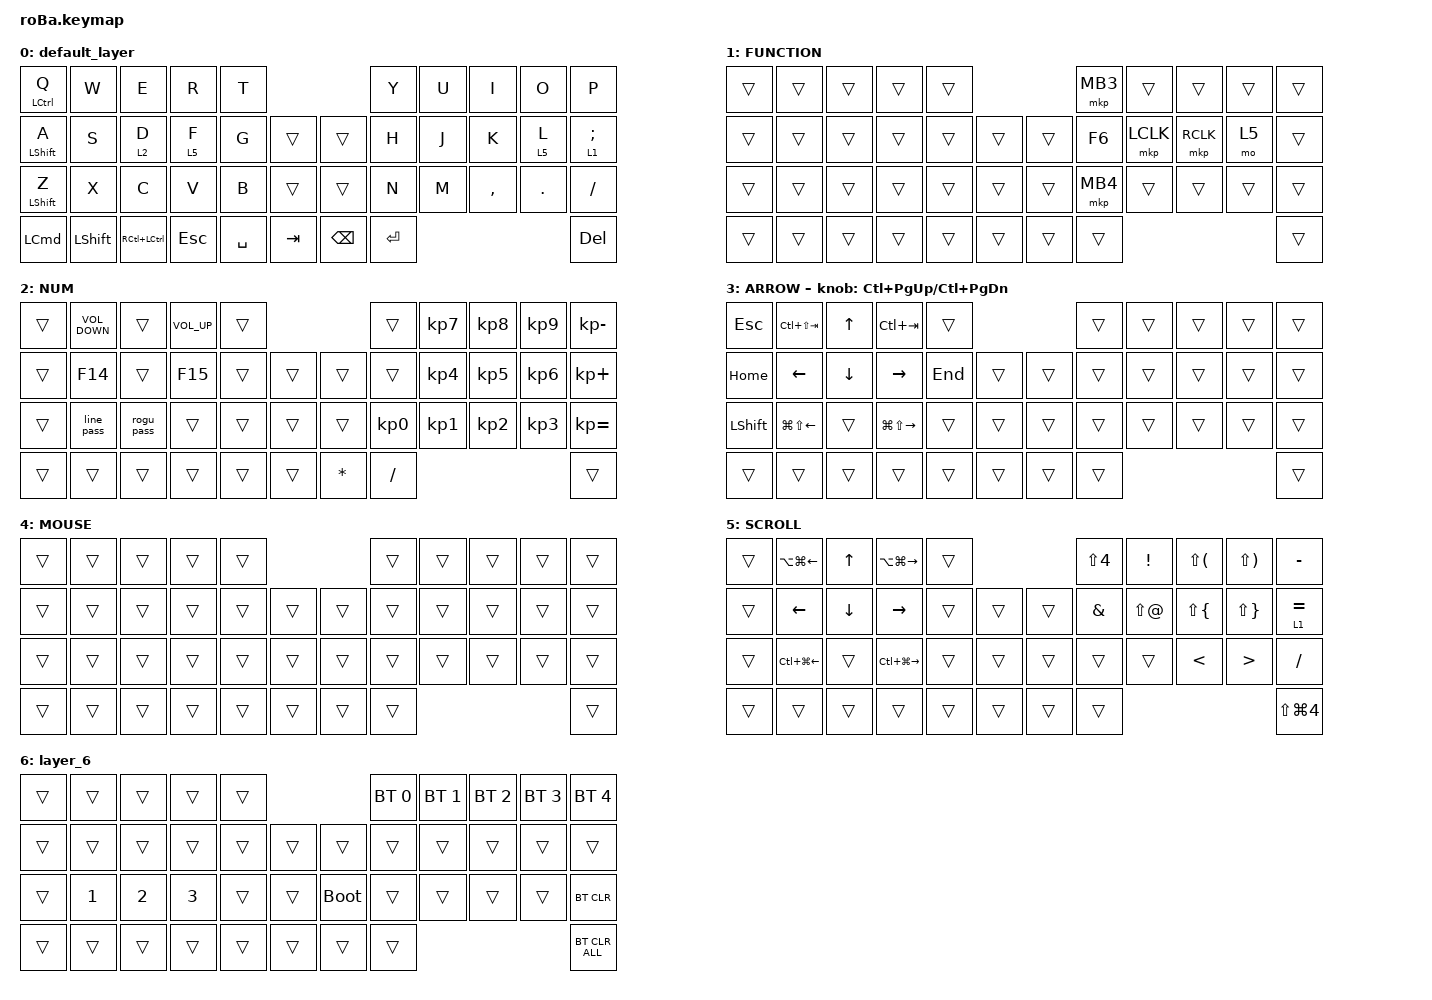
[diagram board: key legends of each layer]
#include <behaviors.dtsi>
#include <dt-bindings/zmk/bt.h>
#include <dt-bindings/zmk/keys.h>
#include <dt-bindings/zmk/pointing.h>

&mt {
    flavor = "balanced";
    quick-tap-ms = <0>;
};

&trackball {
    automouse-layer = <4>;
    scroll-layers = <5>;

    // arrows {
    //     layers = <3>;
    //     bindings =
    //         <&kp RIGHT_ARROW>,
    //         <&kp LEFT_ARROW>,
    //         <&kp UP_ARROW>,
    //         <&kp DOWN_ARROW>;
    //     tick = <10>;
    //     wait-ms = <5>;
    //     tap-ms = <5>;
    // };
};

/ {
    combos {
        compatible = "zmk,combos";

        tab {
            bindings = <&kp TAB>;
            key-positions = <11 12>;
        };

        shift_tab {
            bindings = <&kp LS(TAB)>;
            key-positions = <12 13>;
        };

        muhennkann {
            bindings = <&to_layer_0 INT_MUHENKAN>;
            key-positions = <11 10>;
        };

        double_quotation {
            bindings = <&kp DOUBLE_QUOTES>;
            key-positions = <20 21>;
        };

        eq {
            bindings = <&kp EQUAL>;
            key-positions = <24 25>;
        };
    };

    macros {
        to_layer_0: to_layer_0 {
            compatible = "zmk,behavior-macro-one-param";
            #binding-cells = <1>;
            bindings = <&macro_param_1to1>;
            label = "TO_LAYER_0";
        };

        rogu_pass: new_macro {
            compatible = "zmk,behavior-macro";
            #binding-cells = <0>;
            bindings = <&kp KP_NUMBER_1 &kp KP_NUMBER_1 &kp KP_NUMBER_2 &kp KP_NUMBER_8 &kp KP_NUMBER_1 &kp KP_NUMBER_2 &kp KP_NUMBER_1 &kp KP_NUMBER_2 &kp RETURN &kp LG(LS(UP_ARROW)) &kp DEL>;
            label = "NEW_MACRO";
        };

        line_pass: rine_pass {
            compatible = "zmk,behavior-macro";
            #binding-cells = <0>;
            bindings = <&kp LS(T) &kp A &kp S &kp A &kp K &kp I &kp KP_NUMBER_0 &kp KP_NUMBER_2 &kp KP_NUMBER_1 &kp KP_NUMBER_4 &kp KP_NUMBER_1 &kp KP_NUMBER_2 &kp RET &kp LG(LS(UP_ARROW)) &kp DELETE>;
            label = "RINE_PASS";
        };
    };

    behaviors {
        lt_to_layer_0: lt_to_layer_0 {
            compatible = "zmk,behavior-hold-tap";
            label = "LAYER_TAP_TO_0";
            bindings = <&mo>, <&to_layer_0>;

            #binding-cells = <2>;
            tapping-term-ms = <200>;
        };
    };

    keymap {
        compatible = "zmk,keymap";

        default_layer {
            bindings = <
&mt LEFT_CONTROL Q  &kp W           &kp E                 &kp R       &kp T                                  &kp Y    &kp U  &kp I      &kp O    &kp P
&mt LEFT_SHIFT A    &kp S           &lt 2 D               &lt 5 F     &kp G      &trans       &trans         &kp H    &kp J  &kp K      &lt 5 L  &lt 1 SEMICOLON
&mt LEFT_SHIFT Z    &kp X           &kp C                 &kp V       &kp B      &trans       &trans         &kp N    &kp M  &kp COMMA  &kp DOT  &kp SLASH
&kp LEFT_COMMAND    &kp LEFT_SHIFT  &kp RC(LEFT_CONTROL)  &kp ESCAPE  &kp SPACE  &kp TAB      &kp BACKSPACE  &kp RET                             &kp DEL
            >;
        };

        FUNCTION {
            bindings = <
&trans  &trans  &trans  &trans  &trans                      &mkp MB3  &trans     &trans     &trans  &trans
&trans  &trans  &trans  &trans  &trans  &trans      &trans  &kp F6    &mkp LCLK  &mkp RCLK  &mo 5   &trans
&trans  &trans  &trans  &trans  &trans  &trans      &trans  &mkp MB4  &trans     &trans     &trans  &trans
&trans  &trans  &trans  &trans  &trans  &trans      &trans  &trans                                  &trans
            >;
        };

        NUM {
            bindings = <
&trans  &kp C_VOLUME_DOWN  &trans      &kp C_VOLUME_UP  &trans                            &trans           &kp KP_NUMBER_7  &kp KP_NUMBER_8  &kp KP_NUMBER_9  &kp KP_MINUS
&trans  &kp F14            &trans      &kp F15          &trans  &trans      &trans        &trans           &kp KP_NUMBER_4  &kp KP_NUMBER_5  &kp KP_NUMBER_6  &kp KP_PLUS
&trans  &line_pass         &rogu_pass  &trans           &trans  &trans      &trans        &kp KP_NUMBER_0  &kp KP_NUMBER_1  &kp KP_NUMBER_2  &kp KP_NUMBER_3  &kp KP_EQUAL
&trans  &trans             &trans      &trans           &trans  &trans      &kp ASTERISK  &kp SLASH                                                           &trans
            >;
        };

        ARROW {
            bindings = <
&kp ESCAPE      &kp LC(LS(TAB))         &kp UP_ARROW    &kp LC(TAB)              &trans                       &trans  &trans  &trans  &trans  &trans
&kp HOME        &kp LEFT_ARROW          &kp DOWN_ARROW  &kp RIGHT_ARROW          &kp END  &trans      &trans  &trans  &trans  &trans  &trans  &trans
&kp LEFT_SHIFT  &kp LG(LS(LEFT_ARROW))  &trans          &kp LG(LS(RIGHT_ARROW))  &trans   &trans      &trans  &trans  &trans  &trans  &trans  &trans
&trans          &trans                  &trans          &trans                   &trans   &trans      &trans  &trans                          &trans
            >;

            sensor-bindings = <&inc_dec_kp LC(PAGE_UP) LC(PAGE_DOWN)>;
        };

        MOUSE {
            bindings = <
&trans  &trans  &trans  &trans  &trans                      &trans  &trans  &trans  &trans  &trans
&trans  &trans  &trans  &trans  &trans  &trans      &trans  &trans  &trans  &trans  &trans  &trans
&trans  &trans  &trans  &trans  &trans  &trans      &trans  &trans  &trans  &trans  &trans  &trans
&trans  &trans  &trans  &trans  &trans  &trans      &trans  &trans                          &trans
            >;
        };

        SCROLL {
            bindings = <
&trans  &kp LA(LG(LEFT_ARROW))  &kp UP_ARROW    &kp LA(LG(RIGHT))  &trans                      &kp LS(NUMBER_4)  &kp EXCLAMATION  &kp LS(LEFT_PARENTHESIS)  &kp LS(RIGHT_PARENTHESIS)  &kp MINUS
&trans  &kp LEFT_ARROW          &kp DOWN_ARROW  &kp RIGHT          &trans  &trans      &trans  &kp AMPERSAND     &kp LS(AT_SIGN)  &kp LS(LEFT_BRACE)        &kp LS(RIGHT_BRACE)        &lt 1 EQUAL
&trans  &kp LC(LG(LEFT_ARROW))  &trans          &kp LC(LG(RIGHT))  &trans  &trans      &trans  &trans            &trans           &kp LESS_THAN             &kp GREATER_THAN           &kp SLASH
&trans  &trans                  &trans          &trans             &trans  &trans      &trans  &trans                                                                                  &kp LS(LG(NUMBER_4))
            >;
        };

        layer_6 {
            bindings = <
&trans  &trans        &trans        &trans        &trans                           &bt BT_SEL 0  &bt BT_SEL 1  &bt BT_SEL 2  &bt BT_SEL 3  &bt BT_SEL 4
&trans  &trans        &trans        &trans        &trans  &trans      &trans       &trans        &trans        &trans        &trans        &trans
&trans  &kp NUMBER_1  &kp NUMBER_2  &kp NUMBER_3  &trans  &trans      &bootloader  &trans        &trans        &trans        &trans        &bt BT_CLR
&trans  &trans        &trans        &trans        &trans  &trans      &trans       &trans                                                  &bt BT_CLR_ALL
            >;
        };
    };
};
